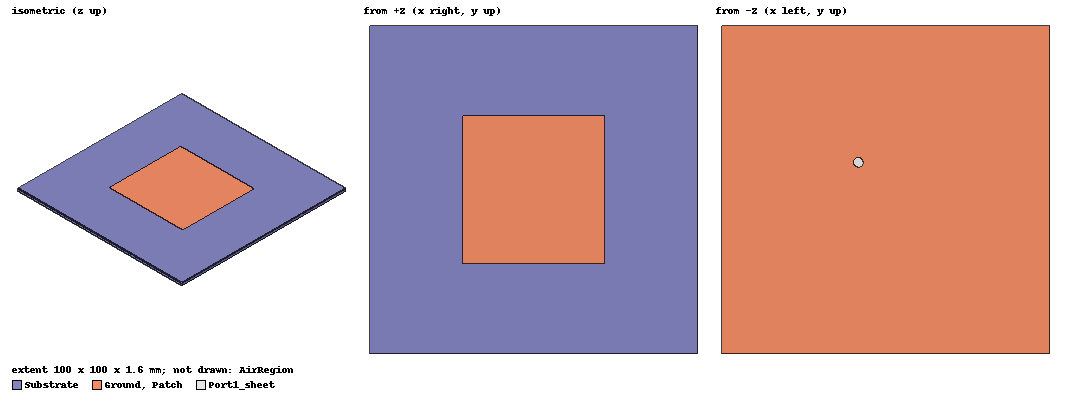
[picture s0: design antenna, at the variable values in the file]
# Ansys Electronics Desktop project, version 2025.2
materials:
  vacuum: permittivity=1
  AntennaSubstrate: permittivity=4.4 permeability=1 dielectric_loss_tangent=0.02
  copper: permeability=0.999991 conductivity=58000000
  air: permittivity=1.0006 permeability=1.0000004
  FR4_epoxy: permittivity=4.4 dielectric_loss_tangent=0.02

design antenna (HFSS, HFSS Modal Network, model units mm)
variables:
  sub_w = 100mm
  sub_l = 100mm
  sub_h = 1.6mm
  patch_l = 43.577mm
  patch_w = 44.84mm
  feed_x = 8.32mm
  feed_y = 8.32mm
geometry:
  Substrate [FR4_epoxy] = box(corner=(-50mm, -50mm, 0mm), size=(100mm, 100mm, 1.6mm))
  Ground [copper] = rectangle(corner=(-50mm, -50mm, 0mm), x_size=100mm, y_size=100mm)
  Patch [copper] = rectangle(corner=(-patch_l/2, -patch_w/2, 1.6mm), x_size=patch_l, y_size=patch_w)
  CoaxProbe [copper] = cylinder(axis=Z, base_centre=(feed_x, feed_y, 0mm), radius=0.6mm, height=1.6mm)
  Port1_sheet = circle(normal=Z, centre=(feed_x, feed_y, 0mm), radius=1.5mm)
  AirRegion [air] = region(absolute_offset: +X=60mm, -X=60mm, +Y=60mm, -Y=60mm, +Z=70mm, -Z=35mm)
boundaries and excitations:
  PEC_Metals: Perfect E Objects=[Ground, Patch]
  CoaxProbePEC: Perfect E Objects=CoaxProbe
  Rad1: Radiation Objects=AirRegion
  Port1: Lumped Port Objects=Port1_sheet LumpedPortType=Modal Modes{Mode1{IntLine{(8.32, 8.32, 0) -> (9.82, 8.32, 0)} CharImp=Zpi RenormImp=50ohm}} Impedance=50ohm
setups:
  Setup1: HfssDriven Frequency=1.575GHz MaxDeltaS=0.02 MaximumPasses=12 MinimumPasses=2 MinimumConvergedPasses=1 PercentRefinement=30 BasisOrder=1 PortAccuracy=2 DrivenSolverType="Direct Solver"
    sweep Sweep1: 1.35GHz to 1.8GHz, 451 points; Type=Interpolating InterpTolerance=0.5 InterpMaxSolns=250 InterpUsePortImped=false PassivityErrorTolerance=0.0001
    sweep Sweep_Discrete: 1.5GHz to 1.65GHz, 46 points; Type=Discrete SaveFields
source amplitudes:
  Port1:1: 1W 0deg
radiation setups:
  InfiniteSphere1: Infinite Sphere Theta=0deg..180deg step 5deg Phi=-180deg..180deg step 5deg
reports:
  S Parameter Plot1: dB(S(Port1,Port1)) vs Freq on Setup1 : Sweep1 [patch_l=all patch_w=all]; markers m1 at 1.593GHz, m2 at 1.589GHz
  Axial Ratio Plot1: dB(AxialRatioValue) vs Freq on Setup1 : Sweep_Discrete, InfiniteSphere1 [Phi=90deg Theta=0deg patch_l=all patch_w=all]; markers MY1 at y=3
  Gain Plot2: dB(GainRHCP) vs Freq on Setup1 : Sweep_Discrete, InfiniteSphere1 [Phi=0deg Theta=0deg patch_l=all patch_w=all]
  Plot1: dB(GainRHCP)-dB(GainLHCP) vs Freq on Setup1 : Sweep_Discrete, InfiniteSphere1 [Phi=0deg Theta=0deg patch_l=all patch_w=all]
